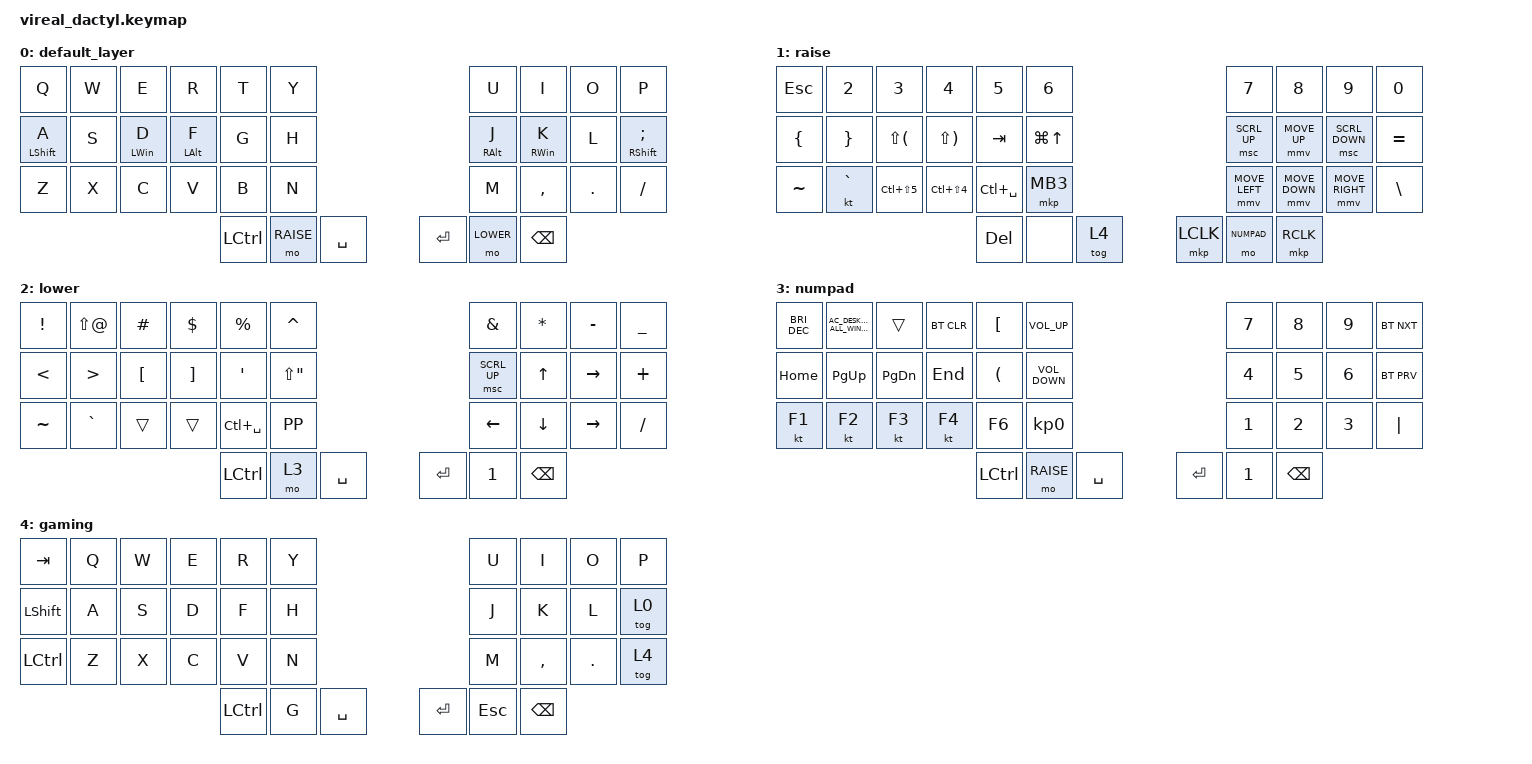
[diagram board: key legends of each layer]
#define ZMK_POINTING_DEFAULT_MOVE_VAL 600  // default: 600
#define ZMK_POINTING_DEFAULT_SCRL_VAL 10    // default: 10

#include <behaviors.dtsi>
#include <dt-bindings/zmk/bt.h>
#include <dt-bindings/zmk/keys.h>
#include <dt-bindings/zmk/pointing.h>

#define DEFAULT 0
#define RAISE   1
#define LOWER   2
#define NUMPAD  3
#define GAMING  4

/ {
    keymap {
        compatible = "zmk,keymap";

        default_layer {
            // Commented layout is not actual layout.
            // -------------------------------------------------------------------------------------------------------------------------
            // |   TAB   |    Q    |    W    |    E    |    R    |    T    |                   |    Y    |    U    |    I    |    O    |    P    |
            // |  LALT   |    A    |    S    |    D    |    F    |    G    |                   |    H    |    J    |    K    |    L    |    ;    |
            // |  LCTRL  |    Z    |    X    |    C    |    V    |    B    |                   |    N    |    M    |    ,    |    .    |    /    |
            //                              |    LCTRL | MO lay 1| SPACE   |                   | ENTER   | Lower | BSPC

            bindings = <
&kp Q             &kp W  &kp E           &kp R           &kp T                 &kp Y  &kp U            &kp I            &kp O     &kp P

&mt LEFT_SHIFT A  &kp S  &mt LEFT_WIN D  &mt LEFT_ALT F  &kp G                 &kp H  &mt RIGHT_ALT J  &mt RIGHT_WIN K  &kp L     &mt RIGHT_SHIFT SEMICOLON

&kp Z             &kp X  &kp C           &kp V           &kp B                 &kp N  &kp M            &kp COMMA        &kp DOT   &kp FSLH

                                         &kp LCTRL       &mo RAISE  &kp SPACE         &kp ENTER        &mo LOWER        &kp BSPC
            >;
        };

        raise {
            // commented layout is not actual layout.
            // -------------------------------------------------------------------------------------------------------------------------
            // |   tab   |    q    |    w    |    e    |    r    |    t    |                   |    y    |    u    |    i    |    o    |    p    |
            // |  lalt   |    a    |    s    |    d    |    f    |    g    |                   |    h    |    j    |    k    |    l    |    ;    |
            // |  lctrl  |    z    |    x    |    c    |    v    |    b    |                   |    n    |    m    |    ,    |    .    |    /    |
            //                              |    LCTRL | MO lay 1| SPACE   |                   | ENTER   | Lower | BSPC

            bindings = <
&kp ESC         &kp NUMBER_2     &kp NUMBER_3    &kp NUMBER_4          &kp N5                 &kp N6      &kp N7          &kp N8          &kp N9           &kp N0

&kp LEFT_BRACE  &kp RIGHT_BRACE  &kp LS(LPAR)    &kp LS(RPAR)          &kp TAB                &kp LG(UP)  &msc SCRL_UP    &mmv MOVE_UP    &msc SCRL_DOWN   &kp EQUAL

&kp TILDE       &kt GRAVE        &kp LC(LS(N5))  &kp LC(LS(NUMBER_4))  &kp LC(SPACE)          &mkp MB3    &mmv MOVE_LEFT  &mmv MOVE_DOWN  &mmv MOVE_RIGHT  &kp BSLH

                                                 &kp DEL               &none          &tog 4              &mkp LCLK       &mo NUMPAD      &mkp RCLK
            >;
        };

        lower {
            // commented layout is not actual layout.
            // -------------------------------------------------------------------------------------------------------------------------
            // |   tab   |    q    |    w    |    e    |    r    |    t    |                   |    y    |    u    |    i    |    o    |    p    |
            // |  lalt   |    a    |    s    |    d    |    f    |    g    |                   |    h    |    j    |    k    |    l    |    ;    |
            // |  lctrl  |    z    |    x    |    c    |    v    |    b    |                   |    n    |    m    |    ,    |    .    |    /    |
            //                               |    LCTRL | MO lay 1| SPACE  |                   | ENTER   | Lower | BSPC

            bindings = <
&kp EXCLAMATION  &kp LS(AT_SIGN)   &kp HASH          &kp DOLLAR         &kp PERCENT               &kp CARET    &kp AMPS      &kp ASTERISK  &kp MINUS  &kp UNDER

&kp LESS_THAN    &kp GREATER_THAN  &kp LEFT_BRACKET  &kp RIGHT_BRACKET  &kp SQT                   &kp LS(DQT)  &msc SCRL_UP  &kp UP        &kp RIGHT  &kp PLUS

&kp TILDE        &kp GRAVE         &trans            &trans             &kp LC(SPACE)             &kp K_PP     &kp LEFT      &kp DOWN      &kp RIGHT  &kp FSLH

                                                     &kp LCTRL          &mo 3          &kp SPACE               &kp ENTER     &kp 1         &kp BSPC
            >;
        };

        numpad {
            // commented layout is not actual layout.
            // -------------------------------------------------------------------------------------------------------------------------
            // |   tab   |    q    |    w    |    e    |    r    |    t    |                   |    y    |    u    |    i    |    o    |    p    |
            // |  lalt   |    a    |    s    |    d    |    f    |    g    |                   |    h    |    j    |    k    |    l    |    ;    |
            // |  lctrl  |    z    |    x    |    c    |    v    |    b    |                   |    n    |    m    |    ,    |    .    |    /    |
            //                               |    LCTRL | MO lay 1| SPACE  |                   | ENTER   | Lower | BSPC

            bindings = <
&kp C_BRI_DEC  &kp C_AC_DESKTOP_SHOW_ALL_WINDOWS  &trans     &bt BT_CLR  &kp LBKT              &kp K_VOLUME_UP    &kp N7     &kp NUMBER_8  &kp N9    &bt BT_NXT

&kp HOME       &kp PG_UP                          &kp PG_DN  &kp END     &kp LPAR              &kp K_VOLUME_DOWN  &kp N4     &kp N5        &kp N6    &bt BT_PRV

&kt F1         &kt F2                             &kt F3     &kt F4      &kp F6                &kp KP_NUMBER_0    &kp N1     &kp N2        &kp N3    &kp PIPE

                                                             &kp LCTRL   &mo RAISE  &kp SPACE                     &kp ENTER  &kp 1         &kp BSPC
            >;
        };

        gaming {
            bindings = <
&kp TAB    &kp Q  &kp W  &kp E      &kp R             &kp Y  &kp U    &kp I      &kp O     &kp P

&kp LSHFT  &kp A  &kp S  &kp D      &kp F             &kp H  &kp J    &kp K      &kp L     &tog 0

&kp LCTRL  &kp Z  &kp X  &kp C      &kp V             &kp N  &kp M    &kp COMMA  &kp DOT   &tog 4

                         &kp LCTRL  &kp G  &kp SPACE         &kp RET  &kp ESC    &kp BSPC
            >;
        };
    };
};
